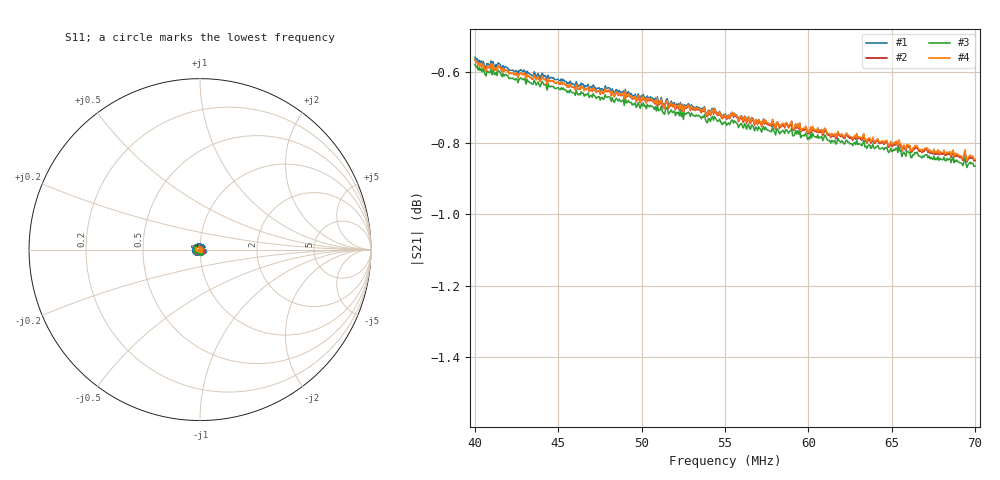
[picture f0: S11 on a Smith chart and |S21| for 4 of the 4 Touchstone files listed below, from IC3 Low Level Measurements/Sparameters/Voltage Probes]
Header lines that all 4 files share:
#  HZ  S  DB  R  50.00
! Rohde & Schwarz Vector Network Analyzer
! Rohde-Schwarz,ZNB8-4Port,1311601044102961,2.82
! freq[Hz]  db:S11  ang:S11  db:S21  ang:S21  db:S12  ang:S12  db:S22  ang:S22
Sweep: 40 MHz to 70 MHz
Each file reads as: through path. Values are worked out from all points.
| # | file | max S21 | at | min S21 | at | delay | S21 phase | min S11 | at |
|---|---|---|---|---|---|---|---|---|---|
| 1 | CableProbe1.s2p | -0.56 dB | 40 MHz | -0.9 dB | 69.52 MHz | 16.9 ns | 22 deg at 55.03 MHz | -33.1 dB | 40.24 MHz |
| 2 | CableProbe2.s2p | -0.57 dB | 40 MHz | -0.9 dB | 69.52 MHz | 17.2 ns | 16 deg at 55.03 MHz | -34.7 dB | 65.07 MHz |
| 3 | CableProbe3.s2p | -0.58 dB | 40 MHz | -0.9 dB | 69.52 MHz | 17.3 ns | 15 deg at 55.03 MHz | -38.5 dB | 65.43 MHz |
| 4 | CableProbe4.s2p | -0.57 dB | 40 MHz | -0.8 dB | 69.52 MHz | 17.1 ns | 18 deg at 55.03 MHz | -48.4 dB | 40.18 MHz |
